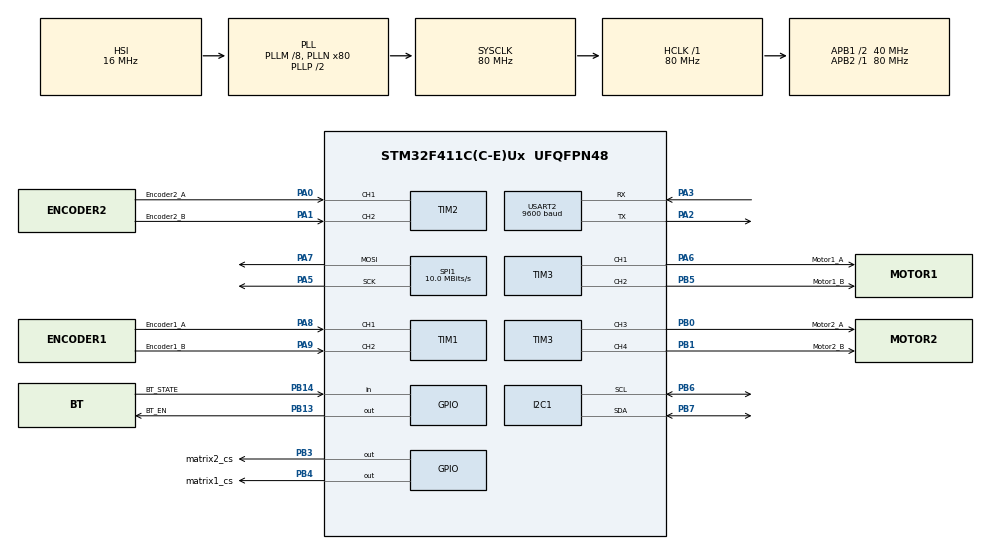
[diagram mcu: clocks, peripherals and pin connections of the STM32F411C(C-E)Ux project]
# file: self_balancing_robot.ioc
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FREERTOS.BinarySemaphores01=HardwareInitSemaphore,Dynamic,NULL,Available;UartInitSemaphore,Dynamic,NULL,Available
FREERTOS.Tasks01=ControlTask,48,128,StartControlTask,Default,NULL,Dynamic,NULL,NULL;SendLogsTask,10,1024,StartSendLogsTask,Default,NULL,Dynamic,NULL,NULL;LedMatrixTask,8,128,StartLedMatrixTask,Default,NULL,Dynamic,NULL,NULL;ReceiveCmdTask,12,256,StartReceiveCmdTask,Default,NULL,Dynamic,NULL,NULL
I2C1.I2C_Mode=I2C_Fast
Mcu.Family=STM32F4
Mcu.Name=STM32F411C(C-E)Ux
Mcu.Package=UFQFPN48
NVIC.PriorityGroup=NVIC_PRIORITYGROUP_4
NVIC.TIM5_IRQn=true\:15\:0\:false\:false\:true\:false\:false\:true\:true
NVIC.TimeBase=TIM5_IRQn
NVIC.TimeBaseIP=TIM5
NVIC.USART2_IRQn=true\:5\:0\:false\:false\:true\:true\:true\:true\:true
PA0-WKUP.GPIO_Label=Encoder2_A
PA0-WKUP.Signal=S_TIM2_CH1_ETR
PA1.GPIO_Label=Encoder2_B
PA1.Signal=S_TIM2_CH2
PA13.Mode=Serial_Wire
PA13.Signal=SYS_JTMS-SWDIO
PA14.Mode=Serial_Wire
PA14.Signal=SYS_JTCK-SWCLK
PA2.Mode=Asynchronous
PA2.Signal=USART2_TX
PA3.Mode=Asynchronous
PA3.Signal=USART2_RX
PA5.Mode=TX_Only_Simplex_Unidirect_Master
PA5.Signal=SPI1_SCK
PA6.GPIO_Label=Motor1_A
PA6.Signal=S_TIM3_CH1
PA7.Mode=TX_Only_Simplex_Unidirect_Master
PA7.Signal=SPI1_MOSI
PA8.GPIO_Label=Encoder1_A
PA8.Signal=S_TIM1_CH1
PA9.GPIO_Label=Encoder1_B
PA9.Signal=S_TIM1_CH2
PB0.GPIO_Label=Motor2_A
PB0.Signal=S_TIM3_CH3
PB1.GPIO_Label=Motor2_B
PB1.Signal=S_TIM3_CH4
PB13.GPIO_Label=BT_EN
PB13.Signal=GPIO_Output
PB14.GPIO_Label=BT_STATE
PB14.Signal=GPIO_Input
PB3.GPIO_Label=matrix2_cs
PB3.PinState=GPIO_PIN_SET
PB3.Signal=GPIO_Output
PB4.GPIO_Label=matrix1_cs
PB4.PinState=GPIO_PIN_SET
PB4.Signal=GPIO_Output
PB5.GPIO_Label=Motor1_B
PB5.Signal=S_TIM3_CH2
PB6.Mode=I2C
PB6.Signal=I2C1_SCL
PB7.Mode=I2C
PB7.Signal=I2C1_SDA
ProjectManager.HeapSize=0x200
ProjectManager.StackSize=0x400
ProjectManager.TargetToolchain=STM32CubeIDE
RCC.48MHZClocksFreq_Value=40000000
RCC.AHBFreq_Value=80000000
RCC.APB1CLKDivider=RCC_HCLK_DIV2
RCC.APB1Freq_Value=40000000
RCC.APB1TimFreq_Value=80000000
RCC.APB2Freq_Value=80000000
RCC.APB2TimFreq_Value=80000000
RCC.CortexFreq_Value=80000000
RCC.HCLKFreq_Value=80000000
RCC.HSE_VALUE=25000000
RCC.HSI_VALUE=16000000
RCC.LSE_VALUE=32768
RCC.PLLM=8
RCC.PLLN=80
RCC.SYSCLKFreq_VALUE=80000000
RCC.SYSCLKSource=RCC_SYSCLKSOURCE_PLLCLK
RCC.VCOOutputFreq_Value=160000000
SH.S_TIM1_CH1.0=TIM1_CH1,Encoder_Interface
SH.S_TIM1_CH2.0=TIM1_CH2,Encoder_Interface
SH.S_TIM2_CH1_ETR.0=TIM2_CH1,Encoder_Interface
SH.S_TIM2_CH2.0=TIM2_CH2,Encoder_Interface
SH.S_TIM3_CH1.0=TIM3_CH1,PWM Generation1 CH1
SH.S_TIM3_CH2.0=TIM3_CH2,PWM Generation2 CH2
SH.S_TIM3_CH3.0=TIM3_CH3,PWM Generation3 CH3
SH.S_TIM3_CH4.0=TIM3_CH4,PWM Generation4 CH4
SPI1.BaudRatePrescaler=SPI_BAUDRATEPRESCALER_8
SPI1.CalculateBaudRate=10.0 MBits/s
SPI1.Direction=SPI_DIRECTION_2LINES
SPI1.Mode=SPI_MODE_MASTER
SPI1.VirtualType=VM_MASTER
TIM3.Channel-PWM\ Generation1\ CH1=TIM_CHANNEL_1
TIM3.Channel-PWM\ Generation2\ CH2=TIM_CHANNEL_2
TIM3.Channel-PWM\ Generation3\ CH3=TIM_CHANNEL_3
TIM3.Channel-PWM\ Generation4\ CH4=TIM_CHANNEL_4
USART2.BaudRate=9600
USART2.VirtualMode=VM_ASYNC
VP_FREERTOS_VS_CMSIS_V2.Mode=CMSIS_V2
VP_SYS_VS_tim5.Mode=TIM5
board=custom

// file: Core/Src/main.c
/* USER CODE BEGIN Header */
/**
  ******************************************************************************
  * @file           : main.c
  * @brief          : Main program body
  ******************************************************************************
  * @attention
  *
  * Copyright (c) 2026 STMicroelectronics.
  * All rights reserved.
  *
  * This software is licensed under terms that can be found in the LICENSE file
  * in the root directory of this software component.
  * If no LICENSE file comes with this software, it is provided AS-IS.
  *
  ******************************************************************************
  */
/* USER CODE END Header */
#include "main.h"
#include "cmsis_os.h"
#include "i2c.h"
#include "spi.h"
#include "tim.h"
#include "usart.h"
#include "gpio.h"

void SystemClock_Config(void);
void MX_FREERTOS_Init(void);

int main(void)
{

  /* MCU Configuration--------------------------------------------------------*/

  /* Reset of all peripherals, Initializes the Flash interface and the Systick. */
  HAL_Init();

  /* Configure the system clock */
  SystemClock_Config();

  /* Initialize all configured peripherals */
  MX_GPIO_Init();
  MX_I2C1_Init();
  MX_USART2_UART_Init();
  MX_SPI1_Init();
  MX_TIM1_Init();
  MX_TIM2_Init();
  MX_TIM3_Init();

  /* Init scheduler */
  osKernelInitialize();

  /* Call init function for freertos objects (in cmsis_os2.c) */
  MX_FREERTOS_Init();

  /* Start scheduler */
  osKernelStart();

  /* We should never get here as control is now taken by the scheduler */

  /* Infinite loop */
  while (1)
  {

  }
}

void SystemClock_Config(void)
{
  RCC_OscInitTypeDef RCC_OscInitStruct = {0};
  RCC_ClkInitTypeDef RCC_ClkInitStruct = {0};

  /** Configure the main internal regulator output voltage
  */
  __HAL_RCC_PWR_CLK_ENABLE();
  __HAL_PWR_VOLTAGESCALING_CONFIG(PWR_REGULATOR_VOLTAGE_SCALE1);

  /** Initializes the RCC Oscillators according to the specified parameters
  * in the RCC_OscInitTypeDef structure.
  */
  RCC_OscInitStruct.OscillatorType = RCC_OSCILLATORTYPE_HSI;
  RCC_OscInitStruct.HSIState = RCC_HSI_ON;
  RCC_OscInitStruct.HSICalibrationValue = RCC_HSICALIBRATION_DEFAULT;
  RCC_OscInitStruct.PLL.PLLState = RCC_PLL_ON;
  RCC_OscInitStruct.PLL.PLLSource = RCC_PLLSOURCE_HSI;
  RCC_OscInitStruct.PLL.PLLM = 8;
  RCC_OscInitStruct.PLL.PLLN = 80;
  RCC_OscInitStruct.PLL.PLLP = RCC_PLLP_DIV2;
  RCC_OscInitStruct.PLL.PLLQ = 4;
  if (HAL_RCC_OscConfig(&RCC_OscInitStruct) != HAL_OK)
  {
    Error_Handler();
  }

  /** Initializes the CPU, AHB and APB buses clocks
  */
  RCC_ClkInitStruct.ClockType = RCC_CLOCKTYPE_HCLK|RCC_CLOCKTYPE_SYSCLK
                              |RCC_CLOCKTYPE_PCLK1|RCC_CLOCKTYPE_PCLK2;
  RCC_ClkInitStruct.SYSCLKSource = RCC_SYSCLKSOURCE_PLLCLK;
  RCC_ClkInitStruct.AHBCLKDivider = RCC_SYSCLK_DIV1;
  RCC_ClkInitStruct.APB1CLKDivider = RCC_HCLK_DIV2;
  RCC_ClkInitStruct.APB2CLKDivider = RCC_HCLK_DIV1;

  if (HAL_RCC_ClockConfig(&RCC_ClkInitStruct, FLASH_LATENCY_2) != HAL_OK)
  {
    Error_Handler();
  }
}

void HAL_TIM_PeriodElapsedCallback(TIM_HandleTypeDef *htim)
{
  if (htim->Instance == TIM5) {
    HAL_IncTick();
  }
}

void Error_Handler(void)
{
  __disable_irq();
  while (1)
  {
  }
}

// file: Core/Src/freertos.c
/* USER CODE BEGIN Header */
/**
  ******************************************************************************
  * File Name          : freertos.c
  * Description        : Code for freertos applications
  ******************************************************************************
  * @attention
  *
  * Copyright (c) 2026 STMicroelectronics.
  * All rights reserved.
  *
  * This software is licensed under terms that can be found in the LICENSE file
  * in the root directory of this software component.
  * If no LICENSE file comes with this software, it is provided AS-IS.
  *
  ******************************************************************************
  */
/* USER CODE END Header */

#include "FreeRTOS.h"
#include "task.h"
#include "main.h"
#include "cmsis_os.h"

/* USER CODE BEGIN Includes */
#include "dc_motor.h"
#include "my_uart.h"
#include "MPU6050.h"
#include "LED_matrix.h"
#include "balance_regulator.h"
#include "command_parser.h"
#include "velocity_regulator.h"
#include "angle_regulator.h"
/* USER CODE END Includes */

/* USER CODE BEGIN Variables */
motor_t motor1 = {
  .pwm_tim = &htim3,
  .pwm_channel_A = TIM_CHANNEL_1,
  .pwm_channel_B = TIM_CHANNEL_2,
  .encoder_tim = &htim1,
  .encoder_curr_count = 0,
  .encoder_prev_count = 0,
  .encoder_resolution = 700,
  .measured_rpm = 0,
  .ramped_rpm = 0,
  .ramp_step = 8,
  .max_rpm = 251.0f,
  .regulator_Kp = 0.8f,
  .regulator_Ki = 0.0f,
  .integral = 0,
  .sign = -1

};
motor_t motor2 = {
  .pwm_tim = &htim3,
  .pwm_channel_A = TIM_CHANNEL_3,
  .pwm_channel_B = TIM_CHANNEL_4,
  .encoder_tim = &htim2,
  .encoder_curr_count = 0,
  .encoder_prev_count = 0,
  .encoder_resolution = 700,
  .measured_rpm = 0,
  .ramped_rpm = 0,
  .ramp_step = 8,
  .max_rpm = 251.0f,
  .regulator_Kp = 0.8f,
  .regulator_Ki = 0.0f,
  .integral = 0,
  .sign = 1
};
LED_matrix_t ledMatrix1 = {
  .spi_handle = &hspi1,
  .cs_port = matrix1_cs_GPIO_Port,
  .cs_pin = matrix1_cs_Pin
};
LED_matrix_t ledMatrix2 = {
  .spi_handle = &hspi1,
  .cs_port = matrix2_cs_GPIO_Port,
  .cs_pin = matrix2_cs_Pin
};
uart_t bluetooth = {
  .uart_handle = &huart2
};
balance_pid_t balance_pid = {
	.target_angle = 0.0f,
	.Kp = 10.0f,
	.Ki = 0.0f,
	.Kd = 5.0f,
	.integral = 0.0f,
	.prev_error = 0.0f,
	.rpm_death_band = 10.0f

};

mpu_kalman_t mpu_kalman = {
	.Q_angle = 0.001f,
	.Q_bias = 0.003f,
	.R_measure = 0.03f,
	.angle = 0.0f,
	.bias = 0.0f,
	.P = {{0.0f, 0.0f},{0.0f, 0.0f}},
	.initialized = false
};

angle_pid_t angle_pid = {
	.Kp = 1.0f,
	.Ki = 0.0f,
	.Kd = 0.5f,
	.integral = 0.0f,
	.prev_error = 0.0f

};

velocity_regulator_t velocity_pid = {
	.Kp = 3.0f,
	.Ki = 0.5f,
	.Kd = 0.0f,
	.integral = 0.0f,
	.prev_error = 0.0f

};

robot_mode_t robot_mode = BALANCE;
float callibration_rpm = 0;
bool send_imu_offsets_flag = false;
bool send_pid_flag = true;
float pwm = 0.0f;
float angle_ref = 0.0f;
float calib_ang = 0.0f;
float robot_speed = 0.0f;
uint8_t outer_divider_ref = 10;
uint32_t regulation_time = 0;
command_context_t command_context = {
	.motor1 = &motor1,
	.motor2 = &motor2,
	.ang_pid = &angle_pid,
	.vel_pid = &velocity_pid,
	.mode = &robot_mode,
	.out_div_ref = &outer_divider_ref,
	.kalman = &mpu_kalman,
	.send_imu_offsets_flag = &send_imu_offsets_flag,
	.send_pid_flag = &send_pid_flag,
	.angle = &calib_ang
};

float current_angle = 0.0f;

/* USER CODE END Variables */
/* Definitions for ControlTask */
osThreadId_t ControlTaskHandle;
const osThreadAttr_t ControlTask_attributes = {
  .name = "ControlTask",
  .stack_size = 128 * 4,
  .priority = (osPriority_t) osPriorityRealtime,
};
/* Definitions for SendLogsTask */
osThreadId_t SendLogsTaskHandle;
const osThreadAttr_t SendLogsTask_attributes = {
  .name = "SendLogsTask",
  .stack_size = 1024 * 4,
  .priority = (osPriority_t) osPriorityLow2,
};
/* Definitions for LedMatrixTask */
osThreadId_t LedMatrixTaskHandle;
const osThreadAttr_t LedMatrixTask_attributes = {
  .name = "LedMatrixTask",
  .stack_size = 128 * 4,
  .priority = (osPriority_t) osPriorityLow,
};
/* Definitions for ReceiveCmdTask */
osThreadId_t ReceiveCmdTaskHandle;
const osThreadAttr_t ReceiveCmdTask_attributes = {
  .name = "ReceiveCmdTask",
  .stack_size = 256 * 4,
  .priority = (osPriority_t) osPriorityLow4,
};
/* Definitions for HardwareInitSemaphore */
osSemaphoreId_t HardwareInitSemaphoreHandle;
const osSemaphoreAttr_t HardwareInitSemaphore_attributes = {
  .name = "HardwareInitSemaphore"
};
/* Definitions for UartInitSemaphore */
osSemaphoreId_t UartInitSemaphoreHandle;
const osSemaphoreAttr_t UartInitSemaphore_attributes = {
  .name = "UartInitSemaphore"
};

void StartControlTask(void *argument);
void StartSendLogsTask(void *argument);
void StartLedMatrixTask(void *argument);
void StartReceiveCmdTask(void *argument);

void MX_FREERTOS_Init(void); /* (MISRA C 2004 rule 8.1) */

void MX_FREERTOS_Init(void) {

  /* Create the semaphores(s) */
  /* creation of HardwareInitSemaphore */
  HardwareInitSemaphoreHandle = osSemaphoreNew(1, 1, &HardwareInitSemaphore_attributes);

  /* creation of UartInitSemaphore */
  UartInitSemaphoreHandle = osSemaphoreNew(1, 1, &UartInitSemaphore_attributes);

  /* Create the thread(s) */
  /* creation of ControlTask */
  ControlTaskHandle = osThreadNew(StartControlTask, NULL, &ControlTask_attributes);

  /* creation of SendLogsTask */
  SendLogsTaskHandle = osThreadNew(StartSendLogsTask, NULL, &SendLogsTask_attributes);

  /* creation of LedMatrixTask */
  LedMatrixTaskHandle = osThreadNew(StartLedMatrixTask, NULL, &LedMatrixTask_attributes);

  /* creation of ReceiveCmdTask */
  ReceiveCmdTaskHandle = osThreadNew(StartReceiveCmdTask, NULL, &ReceiveCmdTask_attributes);

}

void StartControlTask(void *argument)
{
  /* USER CODE BEGIN StartControlTask */
  osSemaphoreAcquire(HardwareInitSemaphoreHandle, 0);
  uint32_t Ts_ms = 4;
  uint8_t outer_divider = 10;

  uint32_t nextWake = osKernelGetTickCount();
  float Ts_s = (float)Ts_ms / 1000.0f;
  float ax = 0.0f;
  float ay = 0.0f;
  float az = 0.0f;
  float gx = 0.0f;
  float gy = 0.0f;
  float gz = 0.0f;
  motor_init(&motor2);
  motor_init(&motor1);
  osDelay(100);
  mpu_init(&hi2c1);

  mpu_count_accel_offset();
  mpu_count_gyro_offset();
  send_imu_offsets_flag = true;
  osSemaphoreRelease(HardwareInitSemaphoreHandle);

  /* Infinite loop */
  for(;;)
  {
	uint32_t startTime = osKernelGetTickCount();
	nextWake += Ts_ms;
	mpu_get_accel(&ax, &ay, &az);
	mpu_get_gyro(&gx, &gy, &gz);
	current_angle = mpu_count_angle_Kalman(&mpu_kalman, ay, az, gx, Ts_s);
	motor_measure_rpm(&motor1, Ts_s);
	motor_measure_rpm(&motor2, Ts_s);
	float rpm_avg = 0.5f * (motor1.measured_rpm + motor2.measured_rpm);
	float wheel_omega = rpm_avg * 2.0f * 3.14f / 60.0f;
	robot_speed = wheel_omega * 0.1f;
	if(robot_mode == BALANCE){
	    if(current_angle > 45.0f || current_angle < -45.0f) {
	    	motor_set_signed_pwm(&motor1, 0.0f);
	    	motor_set_signed_pwm(&motor2, 0.0f);
	        angle_pid.integral = 0.0f;
	        velocity_pid.integral = 0.0f;
	        angle_pid.prev_error = 0.0f;
	        velocity_pid.prev_error = 0.0f;
	    }else{
	    	float v_ref = 0.0f;
	    	if (outer_divider > outer_divider_ref){
	    		angle_ref = calib_ang + velocity_pid_count_angle(&velocity_pid, v_ref, robot_speed, Ts_s * (outer_divider_ref + 1));
	    		outer_divider = 0;
	    	}else{
	    		outer_divider++;
	    	}

	    	pwm = angle_pid_count_pwm(&angle_pid, gx,-angle_ref, current_angle, Ts_s);
	    	motor_set_signed_pwm(&motor1, pwm);
	    	motor_set_signed_pwm(&motor2, pwm);
	    }
	}else if(robot_mode == CALIBRATION){
    	pwm = angle_pid_count_pwm(&angle_pid, gx, calib_ang, current_angle, Ts_s);
    	motor_set_signed_pwm(&motor1, pwm);
    	motor_set_signed_pwm(&motor2, pwm);
	}
	regulation_time = osKernelGetTickCount() - startTime;

  osDelayUntil(nextWake);
  }
  /* USER CODE END StartControlTask */
}

void StartSendLogsTask(void *argument)
{
  /* USER CODE BEGIN StartSendLogsTask */
  /* Infinite loop */
  osSemaphoreAcquire(HardwareInitSemaphoreHandle, osWaitForever);
  osSemaphoreAcquire(UartInitSemaphoreHandle, osWaitForever);
  for(;;)
  {
	my_uart_printf(&bluetooth, "regtim%d\n", regulation_time);
	my_uart_printf(&bluetooth, "pwm%.2f\n", pwm);
	my_uart_printf(&bluetooth, "velcur%.2f\n", robot_speed);
	my_uart_printf(&bluetooth, "angcur%.2f\n", current_angle);
	if(robot_mode == BALANCE){
		my_uart_printf(&bluetooth, "angref%.2f\n", angle_ref);
	}
	else if(robot_mode == CALIBRATION){
		my_uart_printf(&bluetooth, "angref%.2f\n", calib_ang);
	}

	if(send_pid_flag == true){
		my_uart_printf(&bluetooth, "angpidp%.2f\n", angle_pid.Kp);
		my_uart_printf(&bluetooth, "angpidi%.2f\n", angle_pid.Ki);
		my_uart_printf(&bluetooth, "angpidd%.2f\n", angle_pid.Kd);
		my_uart_printf(&bluetooth, "velpidp%.2f\n", velocity_pid.Kp);
		my_uart_printf(&bluetooth, "velpidi%.2f\n", velocity_pid.Ki);
		my_uart_printf(&bluetooth, "velpidd%.2f\n", velocity_pid.Kd);
		my_uart_printf(&bluetooth, "kalrm%.5f\n", mpu_kalman.R_measure);
		my_uart_printf(&bluetooth, "kalqa%.5f\n", mpu_kalman.Q_angle);
		my_uart_printf(&bluetooth, "kalqb%.5f\n", mpu_kalman.Q_bias);
		send_pid_flag = false;
	}
	if(send_imu_offsets_flag == true){
    	float ax, ay, az, gx, gy, gz;
    	mpu_get_accel_offset(&ax, &ay, &az);
    	mpu_get_gyro_offset(&gx, &gy, &gz);
    	my_uart_printf(&bluetooth, "accoffx%.2f\n", ax);
    	my_uart_printf(&bluetooth, "accoffy%.2f\n", ay);
    	my_uart_printf(&bluetooth, "accoffz%.2f\n", az);
    	my_uart_printf(&bluetooth, "gyroffx%.2f\n", gx);
    	my_uart_printf(&bluetooth, "gyroffy%.2f\n", gy);
    	my_uart_printf(&bluetooth, "gyroffz%.2f\n", gz);
    	send_imu_offsets_flag = false;
    }
	osDelay(100);
  }
  /* USER CODE END StartSendLogsTask */
}

void StartLedMatrixTask(void *argument)
{
  /* USER CODE BEGIN StartLedMatrixTask */
  uint8_t scary_eye[8] = {
	0b00011000,
	0b00011000,
	0b00111100,
	0b00111100,
	0b00111100,
	0b00111100,
	0b00011000,
	0b00011000
  };

  uint8_t deafult_eye[8] = {
	0b00000000,
	0b00111100,
	0b01111110,
	0b11111111,
	0b11111111,
	0b01111110,
	0b00111100,
	0b00000000
  };

  uint8_t dead_eye[8] = {
	0b11000011,
	0b11100111,
	0b01111110,
	0b00111100,
	0b00111100,
	0b01111110,
	0b11100111,
	0b11000011
  };

  LED_matrix_init(&ledMatrix1);
  osDelay(10);
  LED_matrix_init(&ledMatrix2);
  /* Infinite loop */
  for(;;)
  {
	LED_matrix_clear_buffer(&ledMatrix1);
	LED_matrix_clear_buffer(&ledMatrix2);
	if(current_angle > 45.0f || current_angle < -45.0f){
		LED_matrix_load_buffer(&ledMatrix1, dead_eye);
		LED_matrix_load_buffer(&ledMatrix2, dead_eye);
	}else if(current_angle > 7.0f || current_angle < -7.0f){
		LED_matrix_load_buffer(&ledMatrix1, scary_eye);
		LED_matrix_load_buffer(&ledMatrix2, scary_eye);
	}else{
		LED_matrix_load_buffer(&ledMatrix1, deafult_eye);
		LED_matrix_load_buffer(&ledMatrix2, deafult_eye);
	}
	LED_matrix_rotate_buffer(&ledMatrix1, ROTATE_CW);
	LED_matrix_rotate_buffer(&ledMatrix2, ROTATE_CW);
	LED_matrix_draw_buffer(&ledMatrix1);
	LED_matrix_draw_buffer(&ledMatrix2);

	osDelay(200);
  }
  /* USER CODE END StartLedMatrixTask */
}

void StartReceiveCmdTask(void *argument)
{
  /* USER CODE BEGIN StartReceiveCmdTask */
  /* Infinite loop */
  char received_message[30] = {""};
  osSemaphoreAcquire(HardwareInitSemaphoreHandle, osWaitForever);
  osSemaphoreRelease(HardwareInitSemaphoreHandle);
  osSemaphoreAcquire(UartInitSemaphoreHandle, 0);
  my_uart_init(&bluetooth);
  osSemaphoreRelease(UartInitSemaphoreHandle);
  for(;;)
  {
	if(my_uart_get_message(&bluetooth, received_message) == true){
	  parse_command(&command_context, received_message);
	}
    osDelay(50);
  }
  /* USER CODE END StartReceiveCmdTask */
}
